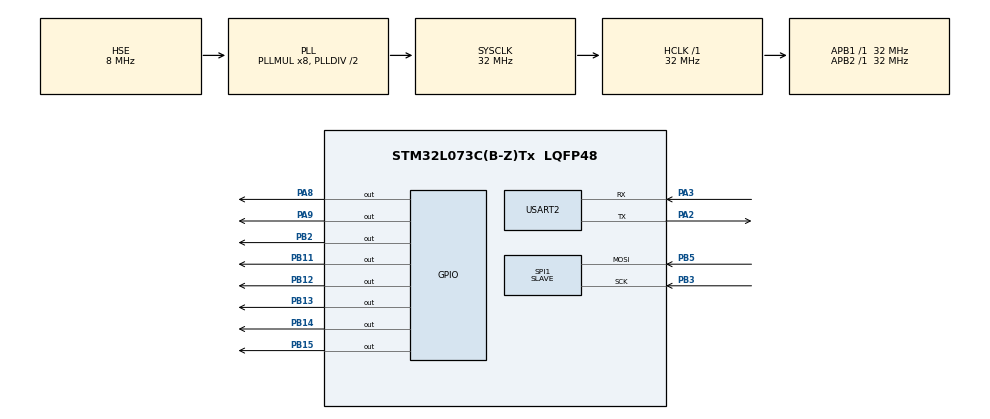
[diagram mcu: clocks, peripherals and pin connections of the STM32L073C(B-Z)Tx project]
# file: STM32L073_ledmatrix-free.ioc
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Mcu.Family=STM32L0
Mcu.Name=STM32L073C(B-Z)Tx
Mcu.Package=LQFP48
NVIC.SPI1_IRQn=true\:0\:0\:true\:false\:true\:true
NVIC.TIM3_IRQn=true\:0\:0\:false\:false\:true\:true
PA2.Mode=Asynchronous
PA2.Signal=USART2_TX
PA3.Mode=Asynchronous
PA3.Signal=USART2_RX
PA8.GPIO_Speed=GPIO_SPEED_FREQ_HIGH
PA8.PinState=GPIO_PIN_RESET
PA8.Signal=GPIO_Output
PA9.GPIO_Speed=GPIO_SPEED_FREQ_HIGH
PA9.PinState=GPIO_PIN_RESET
PA9.Signal=GPIO_Output
PB11.GPIO_Speed=GPIO_SPEED_FREQ_HIGH
PB11.Signal=GPIO_Output
PB12.GPIO_Speed=GPIO_SPEED_FREQ_HIGH
PB12.Signal=GPIO_Output
PB13.GPIO_Speed=GPIO_SPEED_FREQ_HIGH
PB13.Signal=GPIO_Output
PB14.GPIO_Speed=GPIO_SPEED_FREQ_HIGH
PB14.Signal=GPIO_Output
PB15.GPIO_Speed=GPIO_SPEED_FREQ_HIGH
PB15.Signal=GPIO_Output
PB2.GPIO_Speed=GPIO_SPEED_FREQ_LOW
PB2.PinState=GPIO_PIN_RESET
PB2.Signal=GPIO_Output
PB3.Mode=RX_Only_Simplex_Unidirect_Slave
PB3.Signal=SPI1_SCK
PB5.Mode=RX_Only_Simplex_Unidirect_Slave
PB5.Signal=SPI1_MOSI
PC14-OSC32_IN.Mode=LSE-External-Clock-Source
PC14-OSC32_IN.Signal=RCC_OSC32_IN
PH0-OSC_IN.Mode=HSE-External-Clock-Source
PH0-OSC_IN.Signal=RCC_OSC_IN
ProjectManager.HeapSize=0x200
ProjectManager.StackSize=0x400
ProjectManager.TargetToolchain=Makefile
RCC.AHBFreq_Value=32000000
RCC.APB1Freq_Value=32000000
RCC.APB1TimFreq_Value=32000000
RCC.APB2Freq_Value=32000000
RCC.APB2TimFreq_Value=32000000
RCC.HCLKFreq_Value=32000000
RCC.HSE_VALUE=8000000
RCC.HSI16_VALUE=16000000
RCC.HSI48_VALUE=48000000
RCC.HSI_VALUE=16000000
RCC.LSE_VALUE=32768
RCC.MSI_VALUE=2097000
RCC.PLLMUL=RCC_PLLMUL_8
RCC.PLLSourceVirtual=RCC_PLLSOURCE_HSE
RCC.SYSCLKFreq_VALUE=32000000
RCC.SYSCLKSource=RCC_SYSCLKSOURCE_PLLCLK
RCC.VCOOutputFreq_Value=64000000
SPI1.Direction=SPI_DIRECTION_2LINES_RXONLY
SPI1.Mode=SPI_MODE_SLAVE
SPI1.VirtualType=VM_SLAVE
TIM2.Period=65535
TIM2.Prescaler=31
TIM3.ClockDivision=TIM_CLOCKDIVISION_DIV1
TIM3.Period=31999
TIM3.Prescaler=0
USART2.VirtualMode-Asynchronous=VM_ASYNC
VP_TIM2_VS_ClockSourceINT.Mode=Internal
VP_TIM3_VS_ClockSourceINT.Mode=Internal
board=STM32L073_ledmatrix-free

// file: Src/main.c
/**
  ******************************************************************************
  * File Name          : main.c
  * Description        : Main program body
  ******************************************************************************
  ** This notice applies to any and all portions of this file
  * that are not between comment pairs USER CODE BEGIN and
  * USER CODE END. Other portions of this file, whether
  * inserted by the user or by software development tools
  * are owned by their respective copyright owners.
  *
  * COPYRIGHT(c) 2017 STMicroelectronics
  *
  * Redistribution and use in source and binary forms, with or without modification,
  * are permitted provided that the following conditions are met:
  *   1. Redistributions of source code must retain the above copyright notice,
  *      this list of conditions and the following disclaimer.
  *   2. Redistributions in binary form must reproduce the above copyright notice,
  *      this list of conditions and the following disclaimer in the documentation
  *      and/or other materials provided with the distribution.
  *   3. Neither the name of STMicroelectronics nor the names of its contributors
  *      may be used to endorse or promote products derived from this software
  *      without specific prior written permission.
  *
  * THIS SOFTWARE IS PROVIDED BY THE COPYRIGHT HOLDERS AND CONTRIBUTORS "AS IS"
  * AND ANY EXPRESS OR IMPLIED WARRANTIES, INCLUDING, BUT NOT LIMITED TO, THE
  * IMPLIED WARRANTIES OF MERCHANTABILITY AND FITNESS FOR A PARTICULAR PURPOSE ARE
  * DISCLAIMED. IN NO EVENT SHALL THE COPYRIGHT HOLDER OR CONTRIBUTORS BE LIABLE
  * FOR ANY DIRECT, INDIRECT, INCIDENTAL, SPECIAL, EXEMPLARY, OR CONSEQUENTIAL
  * DAMAGES (INCLUDING, BUT NOT LIMITED TO, PROCUREMENT OF SUBSTITUTE GOODS OR
  * SERVICES; LOSS OF USE, DATA, OR PROFITS; OR BUSINESS INTERRUPTION) HOWEVER
  * CAUSED AND ON ANY THEORY OF LIABILITY, WHETHER IN CONTRACT, STRICT LIABILITY,
  * OR TORT (INCLUDING NEGLIGENCE OR OTHERWISE) ARISING IN ANY WAY OUT OF THE USE
  * OF THIS SOFTWARE, EVEN IF ADVISED OF THE POSSIBILITY OF SUCH DAMAGE.
  *
  ******************************************************************************
  */
#include "main.h"
#include "stm32l0xx_hal.h"

/* USER CODE BEGIN Includes */
#include "defines.h"
#include "matrix.h"
/* USER CODE END Includes */

SPI_HandleTypeDef hspi1;

TIM_HandleTypeDef htim2;
TIM_HandleTypeDef htim3;

UART_HandleTypeDef huart2;

/* USER CODE BEGIN PV */
/* Private variables ---------------------------------------------------------*/

uint8_t mat1_buf[MAT1_COLS];
char mat1_text[1000];
struct matrix_init mat1_init;
struct matrix mat1;

uint32_t ticks_per_us;

volatile uint8_t state = STATE_NONE;
volatile uint8_t addr_buf;
volatile uint16_t len_buf;
/* USER CODE END PV */

void SystemClock_Config(void);
static void MX_GPIO_Init(void);
static void MX_USART2_UART_Init(void);
static void MX_TIM2_Init(void);
static void MX_TIM3_Init(void);
static void MX_SPI1_Init(void);

/* USER CODE BEGIN PFP */
/* Private function prototypes -----------------------------------------------*/
void udelay(uint32_t delay);
void SPI1_RxAddr(SPI_HandleTypeDef *hspi);
/* USER CODE END PFP */

/* USER CODE BEGIN 0 */
void udelay(uint32_t delay)
{
  uint32_t ticks_start = __HAL_TIM_GET_COUNTER(&htim2);
  uint32_t ticks_delay = delay * ticks_per_us;
  while (__HAL_TIM_GET_COUNTER(&htim2) - ticks_start < ticks_delay) ;
}

void HAL_TIM_PeriodElapsedCallback(TIM_HandleTypeDef *htim)
{
  if (htim == &htim3) {
    HAL_GPIO_TogglePin(GPIOB, GPIO_PIN_11);  // For debugging

    matrix_update(&mat1);
  }

  __HAL_TIM_CLEAR_IT(htim, TIM_IT_UPDATE);
}

void HAL_SPI_RxCpltCallback(SPI_HandleTypeDef *hspi)
{
  switch (state) {
  case STATE_RX:
    SPI1_RxAddr(hspi);
    break;
  case STATE_SETTEXT_WAITLEN:
    // length received, start text transfer
    state = STATE_SETTEXT_XFTEXT;
    break;
  case STATE_SETTEXT_WAITTEXT:
    // text transfer complete, start new rx
    mat1.text_len = len_buf;
    state = STATE_NONE;
    break;
  }
}

void SPI1_RxAddr(SPI_HandleTypeDef *hspi)
{
  switch (addr_buf) {
   case ADDR_SETTEXT:
     // address was for SETTEXT, start length transfer
     state = STATE_SETTEXT_XFLEN;
     break;
   default:
     // unknown address, start new rx
     state = STATE_NONE;
     break;
   }
}

void mat1_setup()
{
  // TODO: initialize mat1_init struct
  mat1_init.columns = MAT1_COLS;
  mat1_init.rows = 8;
  mat1_init.modules = 6;
  mat1_init.scroll_period = 10;

  mat1_init.column_buffer = mat1_buf;
  mat1_init.text_buffer = mat1_text;

  mat1_init.cle_port = GPIOB;
  mat1_init.cle_pin = GPIO_PIN_12;
  mat1_init.csa_port = GPIOB;
  mat1_init.csa_pin = GPIO_PIN_14;
  mat1_init.csb_port = GPIOB;
  mat1_init.csb_pin = GPIO_PIN_13;
  mat1_init.csc_port = GPIOB;
  mat1_init.csc_pin = GPIO_PIN_15;
  mat1_init.cdi_port = GPIOA;
  mat1_init.cdi_pin = GPIO_PIN_8;
  mat1_init.cck_port = GPIOA;
  mat1_init.cck_pin = GPIO_PIN_9;

  // TODO: call init_matrix

  init_matrix(&mat1, &mat1_init);

  // TODO: write initial text
  mat1.text_len = sprintf(mat1_text, "MATRIX_INIT ");
}
/* USER CODE END 0 */

int main(void)
{

  /* MCU Configuration----------------------------------------------------------*/

  /* Reset of all peripherals, Initializes the Flash interface and the Systick. */
  HAL_Init();

  /* Configure the system clock */
  SystemClock_Config();

  /* Initialize all configured peripherals */
  MX_GPIO_Init();
  MX_USART2_UART_Init();
  MX_TIM2_Init();
  MX_TIM3_Init();
  MX_SPI1_Init();

  /* USER CODE BEGIN 2 */

  ticks_per_us = (HAL_RCC_GetSysClockFreq() / 1000000) / (htim2.Init.Prescaler + 1);
  if (HAL_TIM_Base_Start(&htim2) != HAL_OK)
    _Error_Handler(__FILE__, __LINE__);

  mat1_setup();
  HAL_TIM_Base_Start_IT(&htim3);

  //HAL_SPI_Receive_IT(&hspi1, &addr_buf, sizeof(addr_buf));
  /* USER CODE END 2 */

  /* Infinite loop */
  while (1)
  {

  /* USER CODE BEGIN 3 */
    // SPI transfer management
    switch (state) {
    case STATE_NONE:
      // no rx in the pipe, start one
      state = STATE_RX;
      HAL_SPI_Receive_IT(&hspi1, &addr_buf, sizeof(addr_buf));
      break;
    case STATE_SETTEXT_XFLEN:
      // start length rx
      state = STATE_SETTEXT_WAITLEN;
      HAL_SPI_Receive_IT(&hspi1, &len_buf, sizeof(len_buf));
      break;
    case STATE_SETTEXT_XFTEXT:
      // start text rx
      state = STATE_SETTEXT_WAITTEXT;
      //volatile uint8_t *target = (uint8_t*)mat1_text;
      HAL_SPI_Receive_IT(&hspi1, mat1_text, len_buf);
      break;
    }
  }
  /* USER CODE END 3 */

}

/** System Clock Configuration
*/
void SystemClock_Config(void)
{

  RCC_OscInitTypeDef RCC_OscInitStruct;
  RCC_ClkInitTypeDef RCC_ClkInitStruct;
  RCC_PeriphCLKInitTypeDef PeriphClkInit;

    /**Configure the main internal regulator output voltage
    */
  __HAL_PWR_VOLTAGESCALING_CONFIG(PWR_REGULATOR_VOLTAGE_SCALE1);

    /**Initializes the CPU, AHB and APB busses clocks
    */
  RCC_OscInitStruct.OscillatorType = RCC_OSCILLATORTYPE_HSE;
  RCC_OscInitStruct.HSEState = RCC_HSE_BYPASS;
  RCC_OscInitStruct.PLL.PLLState = RCC_PLL_ON;
  RCC_OscInitStruct.PLL.PLLSource = RCC_PLLSOURCE_HSE;
  RCC_OscInitStruct.PLL.PLLMUL = RCC_PLLMUL_8;
  RCC_OscInitStruct.PLL.PLLDIV = RCC_PLLDIV_2;
  if (HAL_RCC_OscConfig(&RCC_OscInitStruct) != HAL_OK)
  {
    _Error_Handler(__FILE__, __LINE__);
  }

    /**Initializes the CPU, AHB and APB busses clocks
    */
  RCC_ClkInitStruct.ClockType = RCC_CLOCKTYPE_HCLK|RCC_CLOCKTYPE_SYSCLK
                              |RCC_CLOCKTYPE_PCLK1|RCC_CLOCKTYPE_PCLK2;
  RCC_ClkInitStruct.SYSCLKSource = RCC_SYSCLKSOURCE_PLLCLK;
  RCC_ClkInitStruct.AHBCLKDivider = RCC_SYSCLK_DIV1;
  RCC_ClkInitStruct.APB1CLKDivider = RCC_HCLK_DIV1;
  RCC_ClkInitStruct.APB2CLKDivider = RCC_HCLK_DIV1;

  if (HAL_RCC_ClockConfig(&RCC_ClkInitStruct, FLASH_LATENCY_1) != HAL_OK)
  {
    _Error_Handler(__FILE__, __LINE__);
  }

  PeriphClkInit.PeriphClockSelection = RCC_PERIPHCLK_USART2;
  PeriphClkInit.Usart2ClockSelection = RCC_USART2CLKSOURCE_PCLK1;
  if (HAL_RCCEx_PeriphCLKConfig(&PeriphClkInit) != HAL_OK)
  {
    _Error_Handler(__FILE__, __LINE__);
  }

    /**Configure the Systick interrupt time
    */
  HAL_SYSTICK_Config(HAL_RCC_GetHCLKFreq()/1000);

    /**Configure the Systick
    */
  HAL_SYSTICK_CLKSourceConfig(SYSTICK_CLKSOURCE_HCLK);

  /* SysTick_IRQn interrupt configuration */
  HAL_NVIC_SetPriority(SysTick_IRQn, 0, 0);
}

/* SPI1 init function */
static void MX_SPI1_Init(void)
{

  /* SPI1 parameter configuration*/
  hspi1.Instance = SPI1;
  hspi1.Init.Mode = SPI_MODE_SLAVE;
  hspi1.Init.Direction = SPI_DIRECTION_2LINES_RXONLY;
  hspi1.Init.DataSize = SPI_DATASIZE_8BIT;
  hspi1.Init.CLKPolarity = SPI_POLARITY_LOW;
  hspi1.Init.CLKPhase = SPI_PHASE_1EDGE;
  hspi1.Init.NSS = SPI_NSS_SOFT;
  hspi1.Init.FirstBit = SPI_FIRSTBIT_MSB;
  hspi1.Init.TIMode = SPI_TIMODE_DISABLE;
  hspi1.Init.CRCCalculation = SPI_CRCCALCULATION_DISABLE;
  hspi1.Init.CRCPolynomial = 7;
  if (HAL_SPI_Init(&hspi1) != HAL_OK)
  {
    _Error_Handler(__FILE__, __LINE__);
  }

}

/* TIM2 init function */
static void MX_TIM2_Init(void)
{

  TIM_ClockConfigTypeDef sClockSourceConfig;
  TIM_MasterConfigTypeDef sMasterConfig;

  htim2.Instance = TIM2;
  htim2.Init.Prescaler = 31;
  htim2.Init.CounterMode = TIM_COUNTERMODE_UP;
  htim2.Init.Period = 65535;
  htim2.Init.ClockDivision = TIM_CLOCKDIVISION_DIV1;
  if (HAL_TIM_Base_Init(&htim2) != HAL_OK)
  {
    _Error_Handler(__FILE__, __LINE__);
  }

  sClockSourceConfig.ClockSource = TIM_CLOCKSOURCE_INTERNAL;
  if (HAL_TIM_ConfigClockSource(&htim2, &sClockSourceConfig) != HAL_OK)
  {
    _Error_Handler(__FILE__, __LINE__);
  }

  sMasterConfig.MasterOutputTrigger = TIM_TRGO_RESET;
  sMasterConfig.MasterSlaveMode = TIM_MASTERSLAVEMODE_DISABLE;
  if (HAL_TIMEx_MasterConfigSynchronization(&htim2, &sMasterConfig) != HAL_OK)
  {
    _Error_Handler(__FILE__, __LINE__);
  }

}

/* TIM3 init function */
static void MX_TIM3_Init(void)
{

  TIM_ClockConfigTypeDef sClockSourceConfig;
  TIM_MasterConfigTypeDef sMasterConfig;

  htim3.Instance = TIM3;
  htim3.Init.Prescaler = 0;
  htim3.Init.CounterMode = TIM_COUNTERMODE_UP;
  htim3.Init.Period = 31999;
  htim3.Init.ClockDivision = TIM_CLOCKDIVISION_DIV1;
  if (HAL_TIM_Base_Init(&htim3) != HAL_OK)
  {
    _Error_Handler(__FILE__, __LINE__);
  }

  sClockSourceConfig.ClockSource = TIM_CLOCKSOURCE_INTERNAL;
  if (HAL_TIM_ConfigClockSource(&htim3, &sClockSourceConfig) != HAL_OK)
  {
    _Error_Handler(__FILE__, __LINE__);
  }

  sMasterConfig.MasterOutputTrigger = TIM_TRGO_RESET;
  sMasterConfig.MasterSlaveMode = TIM_MASTERSLAVEMODE_DISABLE;
  if (HAL_TIMEx_MasterConfigSynchronization(&htim3, &sMasterConfig) != HAL_OK)
  {
    _Error_Handler(__FILE__, __LINE__);
  }

}

/* USART2 init function */
static void MX_USART2_UART_Init(void)
{

  huart2.Instance = USART2;
  huart2.Init.BaudRate = 115200;
  huart2.Init.WordLength = UART_WORDLENGTH_7B;
  huart2.Init.StopBits = UART_STOPBITS_1;
  huart2.Init.Parity = UART_PARITY_NONE;
  huart2.Init.Mode = UART_MODE_TX_RX;
  huart2.Init.HwFlowCtl = UART_HWCONTROL_NONE;
  huart2.Init.OverSampling = UART_OVERSAMPLING_16;
  huart2.Init.OneBitSampling = UART_ONE_BIT_SAMPLE_DISABLE;
  huart2.AdvancedInit.AdvFeatureInit = UART_ADVFEATURE_NO_INIT;
  if (HAL_UART_Init(&huart2) != HAL_OK)
  {
    _Error_Handler(__FILE__, __LINE__);
  }

}

/** Configure pins as
        * Analog
        * Input
        * Output
        * EVENT_OUT
        * EXTI
*/
static void MX_GPIO_Init(void)
{

  GPIO_InitTypeDef GPIO_InitStruct;

  /* GPIO Ports Clock Enable */
  __HAL_RCC_GPIOC_CLK_ENABLE();
  __HAL_RCC_GPIOH_CLK_ENABLE();
  __HAL_RCC_GPIOA_CLK_ENABLE();
  __HAL_RCC_GPIOB_CLK_ENABLE();

  /*Configure GPIO pin Output Level */
  HAL_GPIO_WritePin(GPIOB, GPIO_PIN_2|GPIO_PIN_11|GPIO_PIN_12|GPIO_PIN_13
                          |GPIO_PIN_14|GPIO_PIN_15, GPIO_PIN_RESET);

  /*Configure GPIO pin Output Level */
  HAL_GPIO_WritePin(GPIOA, GPIO_PIN_8|GPIO_PIN_9, GPIO_PIN_RESET);

  /*Configure GPIO pin : PB2 */
  GPIO_InitStruct.Pin = GPIO_PIN_2;
  GPIO_InitStruct.Mode = GPIO_MODE_OUTPUT_PP;
  GPIO_InitStruct.Pull = GPIO_NOPULL;
  GPIO_InitStruct.Speed = GPIO_SPEED_FREQ_LOW;
  HAL_GPIO_Init(GPIOB, &GPIO_InitStruct);

  /*Configure GPIO pins : PB11 PB12 PB13 PB14
                           PB15 */
  GPIO_InitStruct.Pin = GPIO_PIN_11|GPIO_PIN_12|GPIO_PIN_13|GPIO_PIN_14
                          |GPIO_PIN_15;
  GPIO_InitStruct.Mode = GPIO_MODE_OUTPUT_PP;
  GPIO_InitStruct.Pull = GPIO_NOPULL;
  GPIO_InitStruct.Speed = GPIO_SPEED_FREQ_HIGH;
  HAL_GPIO_Init(GPIOB, &GPIO_InitStruct);

  /*Configure GPIO pins : PA8 PA9 */
  GPIO_InitStruct.Pin = GPIO_PIN_8|GPIO_PIN_9;
  GPIO_InitStruct.Mode = GPIO_MODE_OUTPUT_PP;
  GPIO_InitStruct.Pull = GPIO_NOPULL;
  GPIO_InitStruct.Speed = GPIO_SPEED_FREQ_HIGH;
  HAL_GPIO_Init(GPIOA, &GPIO_InitStruct);

}

void _Error_Handler(char * file, int line)
{
  /* USER CODE BEGIN Error_Handler_Debug */
  /* User can add his own implementation to report the HAL error return state */
  while(1)
  {
    HAL_GPIO_WritePin(GPIOB, GPIO_PIN_2, GPIO_PIN_SET);
    HAL_Delay(50);
    HAL_GPIO_WritePin(GPIOB, GPIO_PIN_2, GPIO_PIN_RESET);
    HAL_Delay(50);
  }
  /* USER CODE END Error_Handler_Debug */
}

/************************ (C) COPYRIGHT STMicroelectronics *****END OF FILE****/
